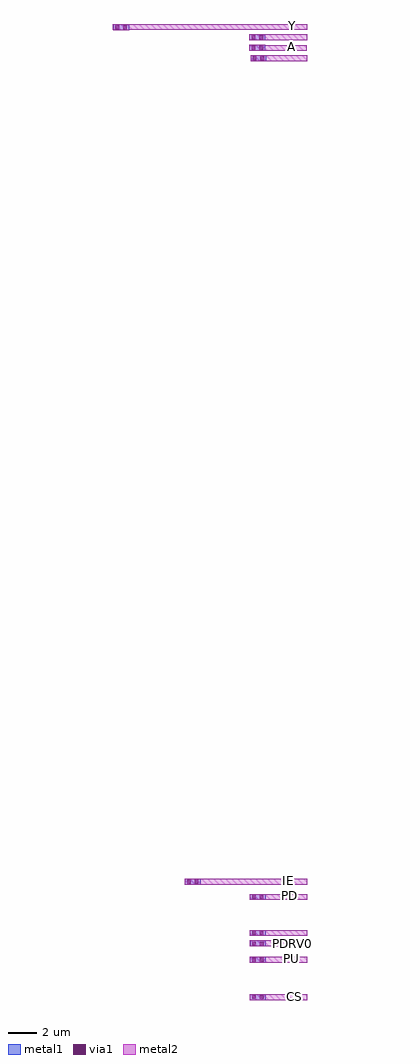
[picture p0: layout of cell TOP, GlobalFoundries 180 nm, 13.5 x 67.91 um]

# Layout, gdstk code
import gdstk
lib = gdstk.Library(unit=1e-6, precision=1e-09)
def R(c, l, rs):  # rectangles x0, y0, x1, y1
    for r in rs: c.add(gdstk.rectangle(r[:2], r[2:], *l))
metal1 = (34, 0)
via1 = (35, 0)
metal2 = (36, 0)

via_dev_11 = lib.new_cell('via_dev$11')

via_dev_10 = lib.new_cell('via_dev$10')

via_dev_9 = lib.new_cell('via_dev$9')

via_dev_8 = lib.new_cell('via_dev$8')

via_dev_7 = lib.new_cell('via_dev$7')

via_dev_6 = lib.new_cell('via_dev$6')

via_dev_5 = lib.new_cell('via_dev$5')

via_dev_4 = lib.new_cell('via_dev$4')

via_dev_3 = lib.new_cell('via_dev$3')

via_dev_2 = lib.new_cell('via_dev$2')

via_dev_1 = lib.new_cell('via_dev$1')

via_dev = lib.new_cell('via_dev')

top = lib.new_cell('TOP')
R(top, metal1, [(2601.53,1888.855,2602.63,1889.255), (2601.53,1888.855,2602.63,1889.255), (2601.53,1891.455,2602.63,1891.855), (2601.535,1892.595,2602.635,1892.995), (2601.525,1893.315,2602.625,1893.715), (2601.52,1895.815,2602.62,1896.215), (2597,1896.875,2598.1,1897.275), (2601.57,1954.17,2602.67,1954.57), (2601.495,1954.91,2602.595,1955.31), (2601.495,1955.63,2602.595,1956.03), (2592.015,1956.33,2593.115,1956.73)])
R(top, via1, [(2601.685,1888.925,2601.945,1889.185), (2601.685,1888.925,2601.945,1889.185), (2602.215,1888.925,2602.475,1889.185), (2602.215,1888.925,2602.475,1889.185), (2601.685,1891.525,2601.945,1891.785), (2602.215,1891.525,2602.475,1891.785), (2601.69,1892.665,2601.95,1892.925), (2602.22,1892.665,2602.48,1892.925), (2601.68,1893.385,2601.94,1893.645), (2602.21,1893.385,2602.47,1893.645), (2601.675,1895.885,2601.935,1896.145), (2602.205,1895.885,2602.465,1896.145), (2597.155,1896.945,2597.415,1897.205), (2597.685,1896.945,2597.945,1897.205), (2601.725,1954.24,2601.985,1954.5), (2602.255,1954.24,2602.515,1954.5), (2601.65,1954.98,2601.91,1955.24), (2602.18,1954.98,2602.44,1955.24), (2601.65,1955.7,2601.91,1955.96), (2602.18,1955.7,2602.44,1955.96), (2592.17,1956.4,2592.43,1956.66), (2592.7,1956.4,2592.96,1956.66)])
R(top, metal2, [(2601.53,1888.855,2602.63,1889.255), (2601.53,1888.855,2602.63,1889.255), (2601.53,1891.455,2602.63,1891.855), (2601.535,1892.595,2602.635,1892.995), (2601.525,1893.315,2602.625,1893.715), (2601.52,1895.815,2602.62,1896.215), (2597,1896.875,2598.1,1897.275), (2601.57,1954.17,2602.67,1954.57), (2601.495,1954.91,2602.595,1955.31), (2601.495,1955.63,2602.595,1956.03), (2592.015,1956.33,2593.115,1956.73)])
top.add(gdstk.FlexPath([(2605.5,1954.37),(2601.575,1954.37)], 0.4, ends="flush", simple_path=True, layer=36, datatype=0))  # metal2
top.add(gdstk.FlexPath([(2605.49,1955.1),(2601.5,1955.1)], 0.38, ends="flush", simple_path=True, layer=36, datatype=0))  # metal2
top.add(gdstk.FlexPath([(2605.5,1955.83),(2601.5,1955.83)], 0.4, ends="flush", simple_path=True, layer=36, datatype=0))  # metal2
top.add(gdstk.FlexPath([(2605.5,1956.56),(2592,1956.56)], 0.4, ends="flush", simple_path=True, layer=36, datatype=0))  # metal2
top.add(gdstk.FlexPath([(2605.5,1891.66),(2601.53,1891.66)], 0.4, ends="flush", simple_path=True, layer=36, datatype=0))  # metal2
top.add(gdstk.FlexPath([(2605.5,1889.055),(2601.53,1889.055)], 0.4, ends="flush", simple_path=True, layer=36, datatype=0))  # metal2
top.add(gdstk.FlexPath([(2605.5,1892.805),(2601.53,1892.805)], 0.4, ends="flush", simple_path=True, layer=36, datatype=0))  # metal2
top.add(gdstk.FlexPath([(2605.5,1893.515),(2601.53,1893.515)], 0.4, ends="flush", simple_path=True, layer=36, datatype=0))  # metal2
top.add(gdstk.FlexPath([(2605.5,1896.025),(2601.51,1896.025)], 0.4, ends="flush", simple_path=True, layer=36, datatype=0))  # metal2
top.add(gdstk.FlexPath([(2605.5,1897.08),(2597,1897.08)], 0.4, ends="flush", simple_path=True, layer=36, datatype=0))  # metal2
top.add(gdstk.Reference(via_dev_11, (2601.49,1892.605)))
top.add(gdstk.Reference(via_dev_10, (2601.495,1892.595)))
top.add(gdstk.Reference(via_dev_9, (2601.49,1892.595)))
top.add(gdstk.Reference(via_dev_8, (2601.485,1888.865)))
top.add(gdstk.Reference(via_dev_7, (2601.49,1888.855)))
top.add(gdstk.Reference(via_dev_6, (2601.485,1891.465)))
top.add(gdstk.Reference(via_dev_5, (2601.49,1891.455)))
top.add(gdstk.Reference(via_dev_4, (2601.48,1893.325)))
top.add(gdstk.Reference(via_dev_3, (2601.485,1893.315)))
top.add(gdstk.Reference(via_dev_2, (2601.485,1888.865)))
top.add(gdstk.Reference(via_dev_1, (2601.48,1895.815)))
top.add(gdstk.Reference(via_dev, (2601.485,1891.46)))
top.add(gdstk.Reference(via_dev, (2601.48,1893.315)))
top.add(gdstk.Reference(via_dev, (2601.49,1888.855)))
top.add(gdstk.Reference(via_dev, (2601.485,1895.825)))
top.add(gdstk.Reference(via_dev, (2596.96,1896.88)))
top.add(gdstk.Label('Y', (2604.52,1956.66), layer=36, texttype=10))
top.add(gdstk.Label('OE', (2604.36,1955.96), layer=36, texttype=10))
top.add(gdstk.Label('A', (2604.4,1955.19), layer=36, texttype=10))
top.add(gdstk.Label('SL', (2604.46,1954.46), layer=36, texttype=10))
top.add(gdstk.Label('CS', (2604.61,1889.115), layer=36, texttype=10))
top.add(gdstk.Label('PU', (2604.43,1891.765), layer=36, texttype=10))
top.add(gdstk.Label('PDRV0', (2604.52,1892.805), layer=36, texttype=10))
top.add(gdstk.Label('PDRV1', (2604.49,1893.585), layer=36, texttype=10))
top.add(gdstk.Label('PD', (2604.28,1896.125), layer=36, texttype=10))
top.add(gdstk.Label('IE', (2604.24,1897.185), layer=36, texttype=10))

lib.write_gds('TOP.gds')
